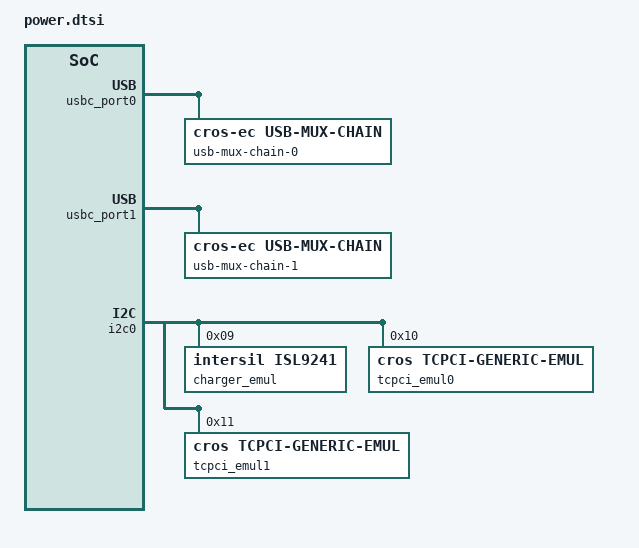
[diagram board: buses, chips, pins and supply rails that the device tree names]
/* Copyright 2023 The ChromiumOS Authors
 * Use of this source code is governed by a BSD-style license that can be
 * found in the LICENSE file.
 */

/ {
	/* Unused Stub */
	named-i2c-ports {
		compatible = "named-i2c-ports";

		named_i2c0: i2c0 {
			i2c-port = <&i2c0>;
			enum-names = "I2C_PORT_USB_MUX",
				     "I2C_PORT_BATTERY";
		};
	};

	usbc {
		#address-cells = <1>;
		#size-cells = <0>;

		usbc_port0: port0@0 {
			compatible = "named-usbc-port";
			reg = <0>;
			tcpc = <&tcpci_emul0>;
			chg = <&charger_emul>;
			usb-mux-chain-0 {
				compatible = "cros-ec,usb-mux-chain";
				usb-muxes = <&virtual_mux_c0>;
			};
		};
		port0-muxes {
			virtual_mux_c0: virtual-mux-c0 {
				compatible = "cros-ec,usbc-mux-virtual";
			};
		};

		usbc_port1: port1@1 {
			compatible = "named-usbc-port";
			reg = <1>;
			tcpc = <&tcpci_emul1>;
			usb-mux-chain-1 {
				compatible = "cros-ec,usb-mux-chain";
				usb-muxes = <&virtual_mux_c1>;
			};
		};
		port1-muxes {
			virtual_mux_c1: virtual-mux-c1 {
				compatible = "cros-ec,usbc-mux-virtual";
			};
		};
	};

	batteries {
		default_battery: lgc_ac17a8m {
			compatible = "lgc,ac17a8m", "battery-smart";
			/**
			 * this has to be strictly lower than the desired
			 * voltage in smart battery emulator (5000mV).
			 */
			voltage_min = <4000>;
		};
	};
};

&i2c0 {
	status = "okay";

	charger_emul: isl9241@9 {
		compatible = "intersil,isl9241";
		status = "okay";
		reg = <0x9>;
	};


	tcpci_emul0: tcpci_emul@10 {
		compatible = "cros,tcpci-generic-emul";
		status = "okay";
		reg = <0x10>;
	};

	tcpci_emul1: tcpci_emul@11 {
		compatible = "cros,tcpci-generic-emul";
		status = "okay";
		reg = <0x11>;
	};
};
